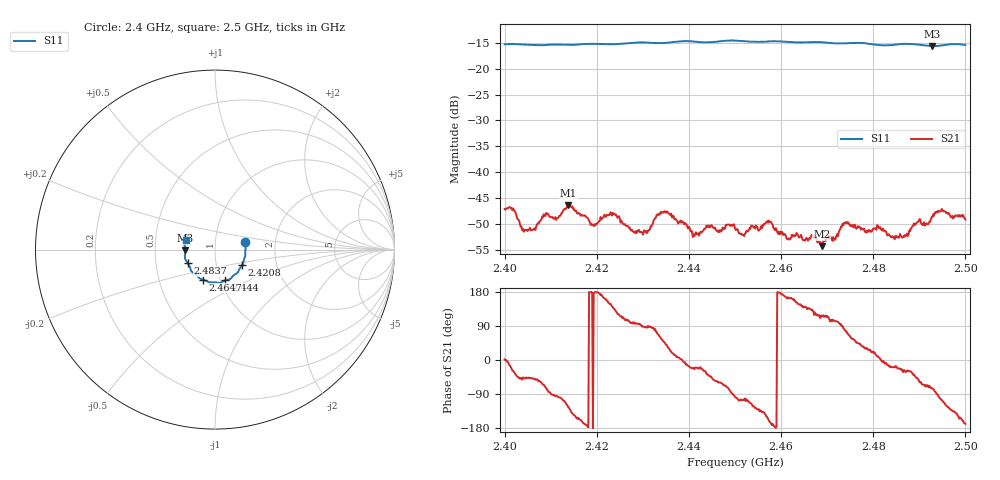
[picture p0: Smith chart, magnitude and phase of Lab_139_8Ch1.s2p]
# Hz S RI R 50
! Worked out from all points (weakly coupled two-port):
!   601 points, 2.4 GHz to 2.5 GHz, reference 50 ohm
!   highest |S21| = -46.39 dB at 2.4138 GHz (marker M1); lowest = -54.3 dB at 2.4688 GHz (marker M2)
!   lowest |S11| = -15.6 dB at 2.4928 GHz (marker M3), VSWR 1.40, Z = 35.8 - j0.343 ohm
!   |S11| at or under -10 dB: start of sweep to end of sweep
!   S12 and S22 are empty: the file has one direction only
!   S11 on the Smith chart (normalised r, x): 2.4 GHz: 1.40, +0.12; 2.4208 GHz: 1.33, -0.24; 2.444 GHz: 1.06, -0.37; 2.4647 GHz: 0.83, -0.29; 2.4837 GHz: 0.73, -0.11; 2.5 GHz: 0.72, +0.08
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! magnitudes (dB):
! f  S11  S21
! 2.4 GHz  -15.3  -47.1
! 2.4018 GHz  -15.2  -47.0
! 2.4047 GHz  -15.3  -51.3
! 2.4138 GHz  -15.4  -46.4
! 2.4167 GHz  -15.2  -48.3
! 2.4208 GHz  -15.2  -48.7
! 2.4235 GHz  -15.2  -47.9
! 2.4305 GHz  -14.9  -51.5
! 2.4333 GHz  -15.0  -48.2
! 2.4413 GHz  -14.7  -52.1
! 2.444 GHz  -14.9  -50.6
! 2.45 GHz  -14.5  -50.9
! 2.4518 GHz  -14.6  -52.2
! 2.4573 GHz  -14.7  -49.4
! 2.4647 GHz  -14.9  -53.1
! 2.4667 GHz  -14.8  -52.1
! 2.4688 GHz  -14.9  -54.3
! 2.4742 GHz  -15.1  -49.7
! 2.4833 GHz  -15.4  -52.0
! 2.4837 GHz  -15.4  -52.4
! 2.4928 GHz  -15.6  -48.7
! 2.5 GHz  -15.4  -49.2
